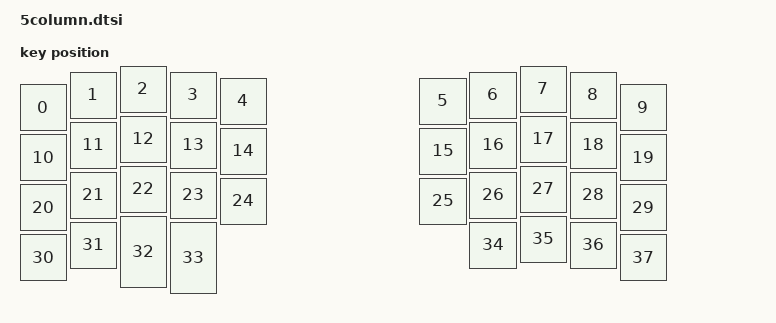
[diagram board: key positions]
#include <layouts/corne_xiao/position_map.dtsi>
#include <physical_layouts.dtsi>

/ {
    corne_xiao_5col_layout: corne_xiao_5col_layout {
        compatible = "zmk,physical-layout";
        display-name = "5 Column";

        keys  //                     w   h    x    y     rot    rx    ry
            = <&key_physical_attrs 100 100    0   37       0     0     0>
            , <&key_physical_attrs 100 100  100   12       0     0     0>
            , <&key_physical_attrs 100 100  200    0       0     0     0>
            , <&key_physical_attrs 100 100  300   12       0     0     0>
            , <&key_physical_attrs 100 100  400   24       0     0     0>
            , <&key_physical_attrs 100 100  800   24       0     0     0>
            , <&key_physical_attrs 100 100  900   12       0     0     0>
            , <&key_physical_attrs 100 100 1000    0       0     0     0>
            , <&key_physical_attrs 100 100 1100   12       0     0     0>
            , <&key_physical_attrs 100 100 1200   37       0     0     0>
            , <&key_physical_attrs 100 100    0  137       0     0     0>
            , <&key_physical_attrs 100 100  100  112       0     0     0>
            , <&key_physical_attrs 100 100  200  100       0     0     0>
            , <&key_physical_attrs 100 100  300  112       0     0     0>
            , <&key_physical_attrs 100 100  400  124       0     0     0>
            , <&key_physical_attrs 100 100  800  124       0     0     0>
            , <&key_physical_attrs 100 100  900  112       0     0     0>
            , <&key_physical_attrs 100 100 1000  100       0     0     0>
            , <&key_physical_attrs 100 100 1100  112       0     0     0>
            , <&key_physical_attrs 100 100 1200  137       0     0     0>
            , <&key_physical_attrs 100 100    0  237       0     0     0>
            , <&key_physical_attrs 100 100  100  212       0     0     0>
            , <&key_physical_attrs 100 100  200  200       0     0     0>
            , <&key_physical_attrs 100 100  300  212       0     0     0>
            , <&key_physical_attrs 100 100  400  224       0     0     0>
            , <&key_physical_attrs 100 100  800  224       0     0     0>
            , <&key_physical_attrs 100 100  900  212       0     0     0>
            , <&key_physical_attrs 100 100 1000  200       0     0     0>
            , <&key_physical_attrs 100 100 1100  212       0     0     0>
            , <&key_physical_attrs 100 100 1200  237       0     0     0>
            , <&key_physical_attrs 100 100    0  337       0     0     0>
            , <&key_physical_attrs 100 100  100  312       0     0     0>
            , <&key_physical_attrs 100 150  200  300       0     0     0>
            , <&key_physical_attrs 100 150  300  312       0     0     0>
            , <&key_physical_attrs 100 100  900  312       0     0     0>
            , <&key_physical_attrs 100 100 1000  300       0     0     0>
            , <&key_physical_attrs 100 100 1100  312       0     0     0>
            , <&key_physical_attrs 100 100 1200  337       0     0     0>
        ;
    };                                           
};

&layouts_corne_xiao_position_map {
    corne_xiao_5col_posmap: five {
        physical-layout = <&corne_xiao_5col_layout>;
        positions
            = < 0  1  2  3  4    5  6  7  8  9>
            , <10 11 12 13 14    15 16 17 18 19>
            , <20 21 22 23 24    25 26 27 28 29>
            , <30 31 32 33          36 37 38 39>;
    };
};
